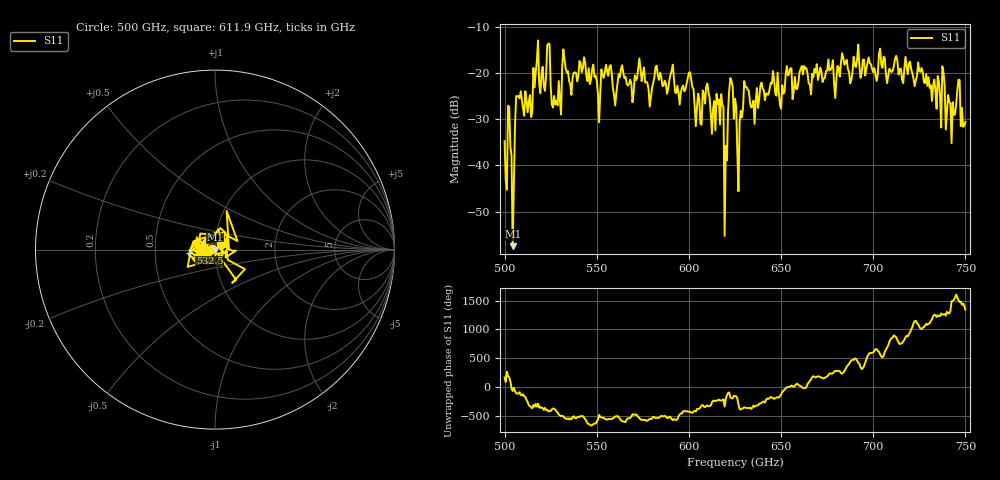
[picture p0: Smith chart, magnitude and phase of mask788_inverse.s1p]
!Created with skrf (http://scikit-rf.org).
# GHz S MA R 50.0
!freq magS11 angS11
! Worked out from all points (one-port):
!   401 points, 500 GHz to 750 GHz, reference 50 ohm
!   lowest |S11| = -57.5 dB at 504.4 GHz (marker M1), VSWR 1.00, Z = 50.1 - j0.123 ohm
!   |S11| at or under -10 dB: start of sweep to end of sweep
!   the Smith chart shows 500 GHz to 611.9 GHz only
!   S11 on the Smith chart (normalised r, x): 500 GHz: 0.96, +0.01; 532.5 GHz: 0.76, -0.03; 611.9 GHz: 1.05, +0.05
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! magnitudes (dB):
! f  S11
! 500 GHz  -34.8
! 502.5 GHz  -27.4
! 504.4 GHz  -57.5
! 507.5 GHz  -25.0
! 513.8 GHz  -24.8
! 516.9 GHz  -19.8
! 523.8 GHz  -13.6
! 526.9 GHz  -25.0
! 531.2 GHz  -18.5
! 532.5 GHz  -17.1
! 550.6 GHz  -24.5
! 562.5 GHz  -20.9
! 593.8 GHz  -22.8
! 600 GHz  -19.9
! 611.9 GHz  -29.0
! 617.5 GHz  -24.6
! 620 GHz  -35.8
! 622.5 GHz  -21.1
! 625 GHz  -25.6
! 627.5 GHz  -30.7
! 631.2 GHz  -23.0
! 634.4 GHz  -27.3
! 656.2 GHz  -25.7
! 687.5 GHz  -22.2
! 718.8 GHz  -20.3
! 743.1 GHz  -26.3
! 745.6 GHz  -23.8
! 750 GHz  -30.6
